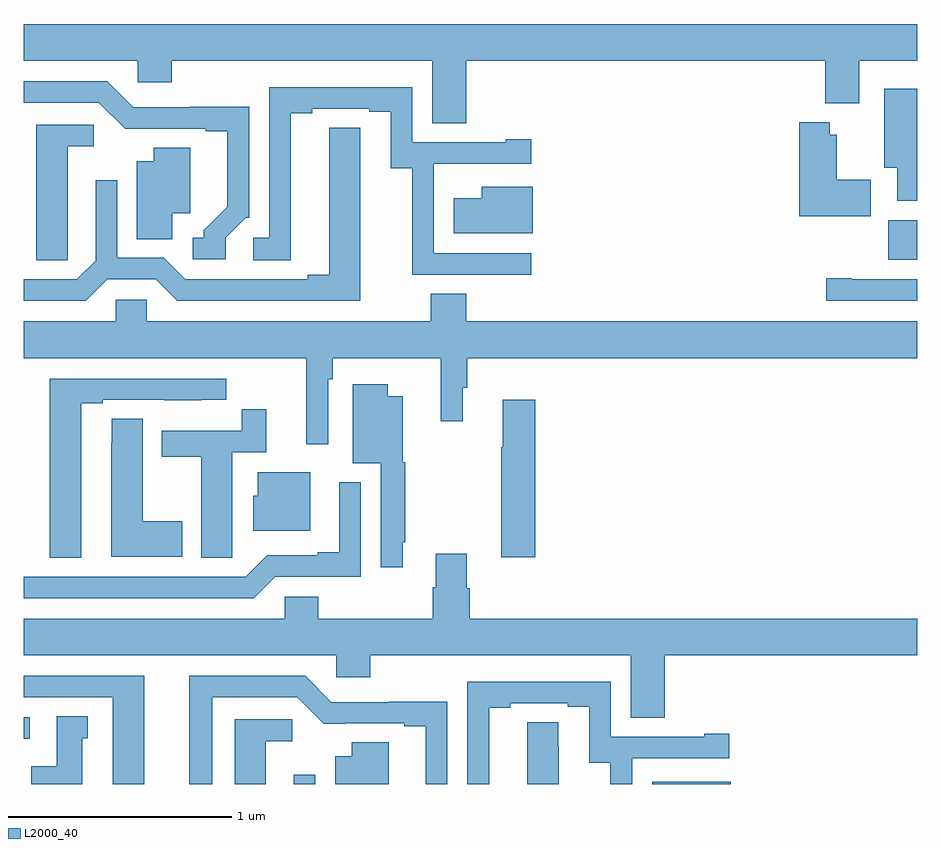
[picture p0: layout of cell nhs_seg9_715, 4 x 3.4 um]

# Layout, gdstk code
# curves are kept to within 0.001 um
import gdstk
lib = gdstk.Library(unit=1e-6, precision=1e-09)
def R(c, l, rs):  # rectangles x0, y0, x1, y1
    for r in rs: c.add(gdstk.rectangle(r[:2], r[2:], *l))
def P(c, l, *ps):  # polygons
    for p in ps: c.add(gdstk.Polygon(p, *l))
L2000_40 = (2000, 40)

nhs_seg9_715 = lib.new_cell('nhs_seg9_715')
R(nhs_seg9_715, L2000_40, [(148.209,1206.5,148.305,1206.541), (149.814,1206.5,150.166,1206.511), (147,1206.702,147.025,1206.798), (150.872,1208.849,151,1209.025)])
P(nhs_seg9_715, L2000_40, [(148.982,1209.74),(150.59,1209.74),(150.59,1209.548),(150.742,1209.548),(150.742,1209.74),(151,1209.74),(151,1209.904),(147,1209.904),(147,1209.74),(147.51,1209.74),(147.51,1209.642),(147.662,1209.642),(147.662,1209.74),(148.829,1209.74),(148.829,1209.46),(148.982,1209.46)],
  [(147.903,1208.946),(147.993,1209.036),(148.008,1209.036),(148.008,1209.533),(147.745,1209.533),(147.745,1209.531),(147.489,1209.531),(147.372,1209.648),(147,1209.648),(147,1209.552),(147.336,1209.552),(147.454,1209.434),(147.815,1209.435),(147.815,1209.423),(147.911,1209.423),(147.911,1209.086),(147.806,1208.981),(147.806,1208.946),(147.756,1208.946),(147.756,1208.85),(147.903,1208.85)],
  [(149.272,1208.877),(148.836,1208.877),(148.836,1209.278),(148.838,1209.278),(148.838,1209.279),(149.272,1209.279),(149.272,1209.388),(149.159,1209.388),(149.159,1209.375),(148.74,1209.375),(148.74,1209.621),(148.098,1209.621),(148.098,1208.946),(148.026,1208.946),(148.026,1208.845),(148.195,1208.845),(148.195,1209.505),(148.291,1209.505),(148.291,1209.525),(148.547,1209.525),(148.547,1209.51),(148.643,1209.51),(148.643,1209.259),(148.738,1209.259),(148.738,1208.781),(149.272,1208.781)],
  [(151,1209.613),(150.854,1209.613),(150.854,1209.26),(150.911,1209.26),(150.911,1209.113),(151,1209.113)],
  [(150.793,1209.207),(150.64,1209.207),(150.64,1209.409),(150.61,1209.409),(150.61,1209.463),(150.473,1209.463),(150.473,1209.044),(150.793,1209.044)],
  [(147.195,1208.953),(147.196,1208.953),(147.196,1209.356),(147.313,1209.356),(147.313,1209.453),(147.056,1209.453),(147.056,1208.845),(147.195,1208.845)],
  [(147.373,1208.76),(147.591,1208.76),(147.687,1208.664),(148.507,1208.664),(148.506,1209.44),(148.367,1209.44),(148.367,1208.78),(148.271,1208.78),(148.271,1208.76),(147.723,1208.76),(147.627,1208.856),(147.417,1208.856),(147.417,1209.205),(147.321,1209.205),(147.321,1208.844),(147.237,1208.76),(147,1208.76),(147,1208.664),(147.277,1208.664)],
  [(147.664,1209.056),(147.745,1209.056),(147.745,1209.35),(147.581,1209.35),(147.581,1209.289),(147.506,1209.289),(147.506,1208.941),(147.664,1208.941)],
  [(149.278,1209.175),(149.051,1209.175),(149.051,1209.124),(148.926,1209.124),(148.926,1208.966),(149.278,1208.966)],
  [(151,1208.76),(150.706,1208.76),(150.706,1208.765),(150.594,1208.765),(150.594,1208.664),(151,1208.664)],
  [(148.362,1208.312),(148.382,1208.312),(148.382,1208.408),(148.867,1208.408),(148.867,1208.124),(148.966,1208.124),(148.966,1208.274),(148.985,1208.274),(148.985,1208.408),(151,1208.408),(151,1208.572),(148.982,1208.572),(148.982,1208.696),(148.822,1208.696),(148.822,1208.572),(147.549,1208.572),(147.549,1208.67),(147.411,1208.67),(147.411,1208.572),(147,1208.572),(147,1208.408),(148.265,1208.408),(148.265,1208.022),(148.362,1208.022)],
  [(147.256,1208.205),(147.352,1208.205),(147.352,1208.22),(147.628,1208.22),(147.628,1208.219),(147.794,1208.219),(147.794,1208.22),(147.907,1208.22),(147.907,1208.316),(147.116,1208.316),(147.116,1207.513),(147.256,1207.513)],
  [(148.696,1207.582),(148.708,1207.582),(148.708,1207.941),(148.696,1207.941),(148.696,1208.236),(148.63,1208.236),(148.63,1208.29),(148.472,1208.29),(148.472,1207.937),(148.599,1207.937),(148.599,1207.47),(148.696,1207.47)],
  [(149.291,1208.221),(149.144,1208.221),(149.144,1208.008),(149.137,1208.008),(149.137,1207.515),(149.291,1207.515)],
  [(147.933,1207.624),(147.934,1207.624),(147.934,1207.986),(148.085,1207.986),(148.085,1208.179),(147.976,1208.179),(147.976,1208.082),(147.617,1208.082),(147.617,1207.966),(147.794,1207.966),(147.794,1207.513),(147.933,1207.513)],
  [(147.709,1207.677),(147.532,1207.677),(147.532,1208.135),(147.393,1208.135),(147.393,1208.027),(147.392,1208.027),(147.392,1207.517),(147.709,1207.517)],
  [(148.282,1207.897),(148.046,1207.897),(148.046,1207.791),(148.028,1207.791),(148.028,1207.634),(148.282,1207.634)],
  [(148.125,1207.428),(148.509,1207.428),(148.509,1207.852),(148.412,1207.852),(148.412,1207.537),(148.316,1207.537),(148.316,1207.524),(148.089,1207.524),(147.993,1207.428),(147,1207.428),(147,1207.332),(148.029,1207.332)],
  [(148.984,1207.377),(148.984,1207.531),(148.844,1207.531),(148.844,1207.382),(148.832,1207.382),(148.832,1207.24),(148.319,1207.24),(148.319,1207.338),(148.167,1207.338),(148.167,1207.24),(147,1207.24),(147,1207.076),(148.398,1207.076),(148.398,1206.978),(148.55,1206.978),(148.55,1207.076),(149.717,1207.076),(149.717,1206.796),(149.87,1206.796),(149.87,1207.076),(151,1207.076),(151,1207.24),(148.997,1207.24),(148.997,1207.377)],
  [(147.538,1206.984),(147,1206.984),(147,1206.888),(147.398,1206.888),(147.398,1206.5),(147.538,1206.5)],
  [(147.844,1206.888),(148.224,1206.888),(148.342,1206.77),(148.703,1206.771),(148.703,1206.759),(148.799,1206.759),(148.799,1206.5),(148.896,1206.5),(148.896,1206.869),(148.633,1206.869),(148.633,1206.867),(148.377,1206.867),(148.26,1206.984),(147.74,1206.984),(147.74,1206.5),(147.844,1206.5)],
  [(149.083,1206.841),(149.179,1206.841),(149.179,1206.861),(149.435,1206.861),(149.435,1206.846),(149.531,1206.846),(149.531,1206.595),(149.626,1206.595),(149.626,1206.5),(149.724,1206.5),(149.724,1206.615),(150.16,1206.615),(150.16,1206.724),(150.047,1206.724),(150.047,1206.711),(149.628,1206.711),(149.628,1206.957),(148.986,1206.957),(148.986,1206.5),(149.083,1206.5)],
  [(147.262,1206.705),(147.286,1206.705),(147.286,1206.803),(147.146,1206.803),(147.146,1206.58),(147.032,1206.58),(147.032,1206.5),(147.262,1206.5)],
  [(148.084,1206.692),(148.201,1206.692),(148.201,1206.789),(147.944,1206.789),(147.944,1206.5),(148.084,1206.5)],
  [(149.395,1206.668),(149.394,1206.668),(149.394,1206.776),(149.255,1206.776),(149.255,1206.5),(149.395,1206.5)],
  [(148.633,1206.686),(148.469,1206.686),(148.469,1206.625),(148.394,1206.625),(148.394,1206.5),(148.633,1206.5)])

lib.write_gds('nhs_seg9_715.gds')
